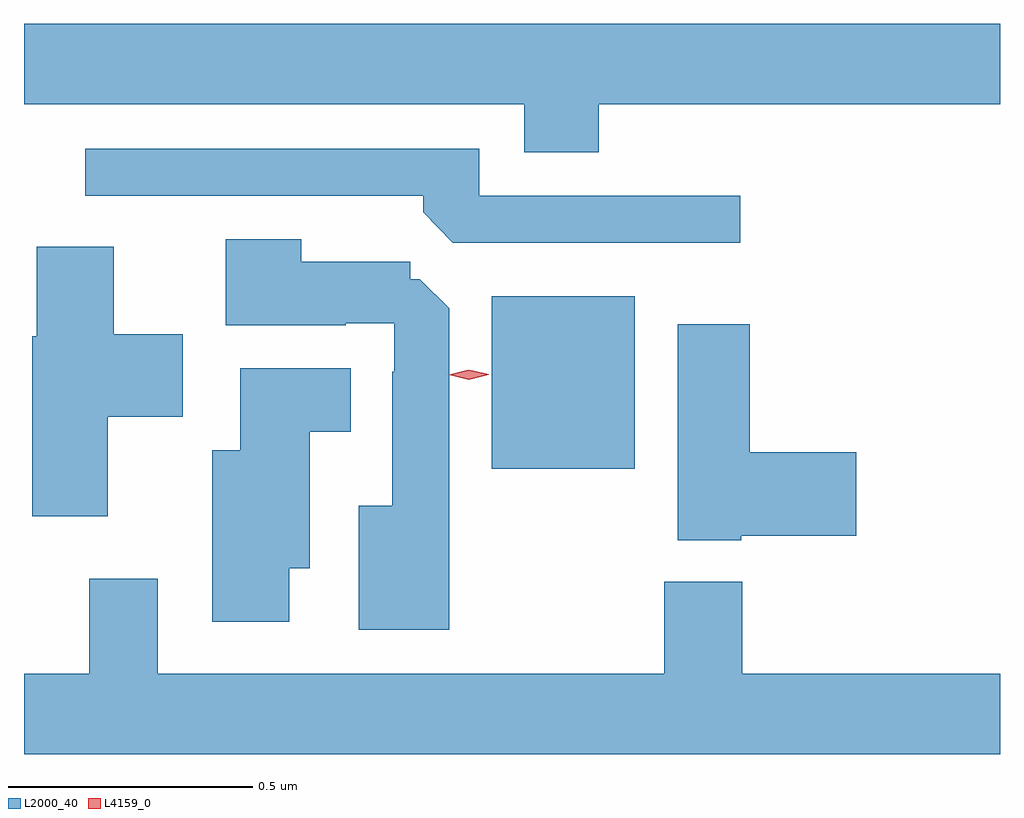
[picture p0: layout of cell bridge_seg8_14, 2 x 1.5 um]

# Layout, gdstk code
import gdstk
lib = gdstk.Library(unit=1e-6, precision=1e-09)
def R(c, l, rs):  # rectangles x0, y0, x1, y1
    for r in rs: c.add(gdstk.rectangle(r[:2], r[2:], *l))
def P(c, l, *ps):  # polygons
    for p in ps: c.add(gdstk.Polygon(p, *l))
L2000_40 = (2000, 40)
L4159_0 = (4159, 0)

bridge_seg8_14 = lib.new_cell('bridge_seg8_14')
R(bridge_seg8_14, L2000_40, [(972.827,1138.397,973.12,1138.75)])
P(bridge_seg8_14, L2000_40, [(973.046,1139.144),(973.868,1139.144),(973.868,1139.308),(971.868,1139.308),(971.868,1139.144),(972.893,1139.144),(972.893,1139.045),(973.046,1139.045)],
  [(973.336,1138.956),(972.801,1138.956),(972.801,1139.052),(971.994,1139.052),(971.994,1138.956),(972.686,1138.956),(972.686,1138.922),(972.747,1138.86),(973.336,1138.86)],
  [(972.739,1138.725),(972.679,1138.785),(972.66,1138.785),(972.66,1138.821),(972.436,1138.821),(972.436,1138.867),(972.281,1138.867),(972.281,1138.691),(972.527,1138.691),(972.527,1138.695),(972.627,1138.695),(972.627,1138.595),(972.623,1138.595),(972.623,1138.321),(972.554,1138.321),(972.554,1138.067),(972.739,1138.067)],
  [(972.04,1138.503),(972.193,1138.503),(972.193,1138.672),(972.052,1138.672),(972.052,1138.852),(971.894,1138.852),(971.894,1138.668),(971.885,1138.668),(971.885,1138.299),(972.04,1138.299)],
  [(973.338,1138.259),(973.573,1138.259),(973.573,1138.43),(973.355,1138.43),(973.355,1138.693),(973.208,1138.693),(973.208,1138.25),(973.338,1138.25)],
  [(972.412,1138.193),(972.454,1138.193),(972.454,1138.472),(972.538,1138.472),(972.538,1138.603),(972.311,1138.603),(972.311,1138.435),(972.254,1138.435),(972.254,1138.083),(972.412,1138.083)],
  [(973.868,1137.976),(973.34,1137.976),(973.34,1138.165),(973.18,1138.165),(973.18,1137.976),(972.142,1137.976),(972.142,1138.171),(972.002,1138.171),(972.002,1137.976),(971.868,1137.976),(971.868,1137.812),(973.868,1137.812)])
P(bridge_seg8_14, L4159_0, [(972.779,1138.579),(972.738,1138.589),(972.738,1138.589),(972.738,1138.589),(972.779,1138.599),(972.82,1138.59),(972.82,1138.589),(972.82,1138.589)])

lib.write_gds('bridge_seg8_14.gds')
